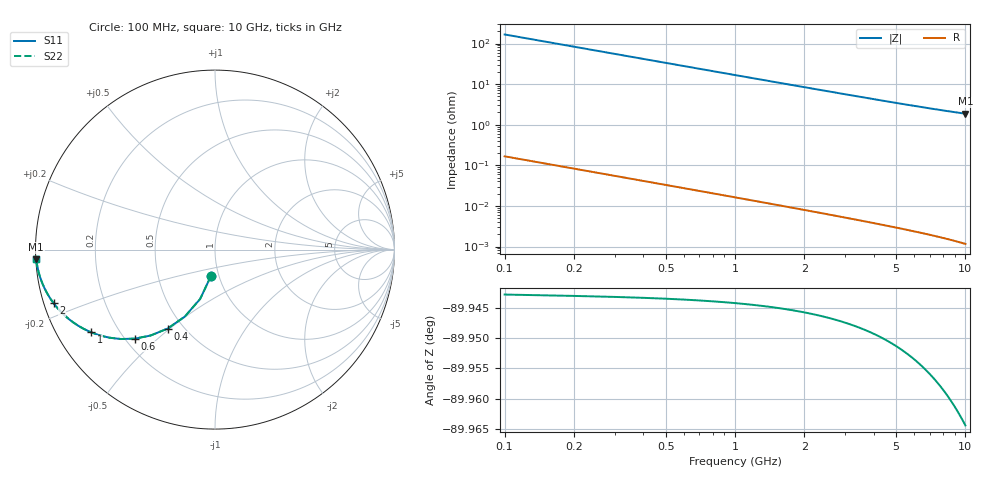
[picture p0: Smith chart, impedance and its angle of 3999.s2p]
# Hz S RI R 50.00
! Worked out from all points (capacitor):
!   100 points, 100 MHz to 10 GHz, reference 50 ohm
!   read as one part in shunt: C = 9.54 pF near 100 MHz
!   lowest |Z| = 1.87 ohm at 10 GHz (marker M1)
!   S11 on the Smith chart (normalised r, x): 100 MHz: 0.92, -0.27; 400 MHz: 0.41, -0.49; 600 MHz: 0.24, -0.42; 1 GHz: 0.10, -0.30; 2 GHz: 0.03, -0.16; 10 GHz: 0.00, -0.03
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1e8  -0.0221 -0.1464  0.9779 -0.1466  0.9779 -0.1466  -0.0221 -0.1464
2e8  -0.0826 -0.2746  0.9174 -0.275  0.9174 -0.275  -0.0826 -0.2746
3e8  -0.1682 -0.3733  0.8317 -0.3739  0.8317 -0.3739  -0.1682 -0.3733
4e8  -0.2643 -0.4401  0.7356 -0.4408  0.7356 -0.4408  -0.2643 -0.4401
5e8  -0.3594 -0.4789  0.6406 -0.4798  0.6406 -0.4798  -0.3594 -0.4789
6e8  -0.4467 -0.4961  0.5532 -0.4972  0.5532 -0.4972  -0.4467 -0.4961
7e8  -0.5234 -0.4983  0.4765 -0.4996  0.4765 -0.4996  -0.5234 -0.4983
8e8  -0.5891 -0.4907  0.4108 -0.4922  0.4108 -0.4922  -0.5891 -0.4907
9e8  -0.6446 -0.4773  0.3553 -0.479  0.3553 -0.479  -0.6446 -0.4773
1e9  -0.6912 -0.4605  0.3087 -0.4624  0.3087 -0.4624  -0.6912 -0.4605
1.2e9  -0.7631 -0.4235  0.2369 -0.4258  0.2369 -0.4258  -0.7631 -0.4235
1.4e9  -0.8141 -0.3871  0.1858 -0.3898  0.1858 -0.3898  -0.8141 -0.3871
1.6e9  -0.8511 -0.3539  0.1488 -0.3569  0.1488 -0.3569  -0.8511 -0.3539
1.8e9  -0.8785 -0.3244  0.1214 -0.3279  0.1214 -0.3279  -0.8785 -0.3244
2e9  -0.8992 -0.2986  0.1007 -0.3024  0.1007 -0.3024  -0.8992 -0.2986
2.7e9  -0.942 -0.2306  0.058 -0.2358  0.058 -0.2358  -0.942 -0.2306
3.4e9  -0.9626 -0.1859  0.0373 -0.1924  0.0373 -0.1924  -0.9626 -0.1859
4.2e9  -0.9752 -0.1509  0.0247 -0.159  0.0247 -0.159  -0.9752 -0.1509
5.1e9  -0.9831 -0.1233  0.0168 -0.1333  0.0168 -0.1333  -0.9831 -0.1233
6.7e9  -0.9902 -0.0911  0.00968 -0.1043  0.00968 -0.1043  -0.9902 -0.0911
8.4e9  -0.9938 -0.0689  0.00601 -0.0858  0.00601 -0.0858  -0.9938 -0.0689
1e10  -0.9956 -0.054  0.00409 -0.0745  0.00409 -0.0745  -0.9956 -0.054
